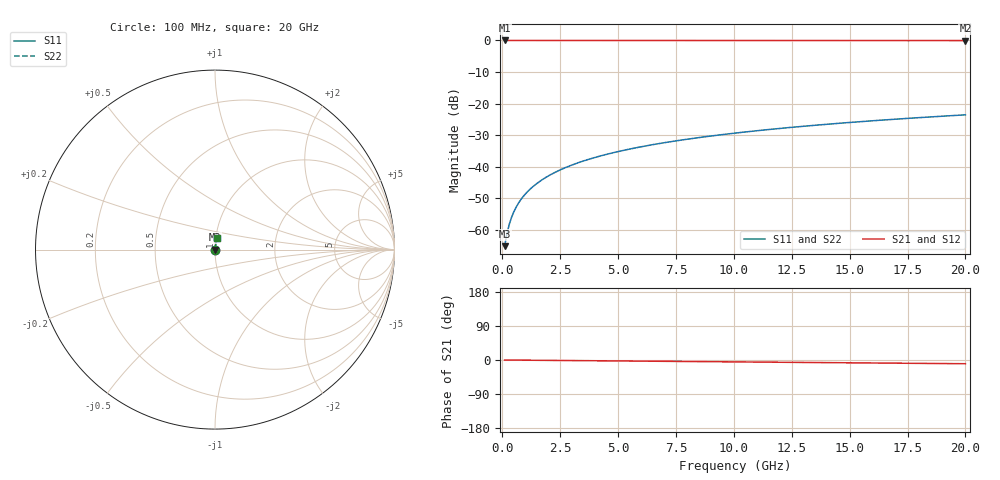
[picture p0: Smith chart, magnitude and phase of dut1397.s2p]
! Touchstone file exported from HFSS 2026.1.0
!  File:  C:/ffzhzh/LocalFiles/Ansys_Project_Files/temp_train_TSV_1397_1783196793_55132.aedt
!  Generated:  04:28:24 AM Jul  5, 2026
!  Design:  TSV
!  Project:  temp_train_TSV_1397_1783196793_55132
! Variables:
!  h_bsmrdl = 2um
!  h_ox = 20um
!  h_rdl = 5um
!  h_sub = 92.24um
!  h_tmrdl = 5um
!  h_tsv = 92.24um
!  h_via = 3um
!  l_bsmrdl = 300um
!  l_sub = 410.8um
!  l_tmrdl = 200um
!  m_sub = 200um
!  pitch = 39.47um
!  r_tsv = 5.4um
!  s_tmrdl = 10um
!  w_bsmrdl = 18um
!  w_sub = 500um
!  w_tmrdl = 12um
!  x_tsv_center1 = 206um
!  x_tsv_center2 = 524um
!  x_tsv_center3 = 736um
!  x_tsv_center4 = 1054um
!  x_tsv_center5 = 1266um
!  x_tsv_center6 = 1584um
# GHz S MA R 50.000000
! Terminal data exported
! Port[1] = TSV1_1_T1
! Port[2] = TSV1_1_T2
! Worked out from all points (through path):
!   200 points, 100 MHz to 20 GHz, reference 50 ohm
!   highest |S21| = 0.00 dB at 100 MHz (marker M1); lowest = 0.0 dB at 20 GHz (marker M2)
!   group delay of S21, straight-line fit = 1.36 ps
!   lowest |S11| = -65.2 dB at 100 MHz (marker M3), VSWR 1.00, Z = 50 + j0.0381 ohm
!   |S11| at or under -10 dB: start of sweep to end of sweep
!   |S22| runs from -65.2 to -23.6 dB; largest |S21 - S12| = 4.5e-15
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0.1  0.000548 44.0  0.9996 -0.1  0.9996 -0.1  0.000548 44.0
! Gamma 0 0 0 0
! Port Impedance 50 0 50 0
0.2  0.0008607 61.9  0.9996 -0.1  0.9996 -0.1  0.0008607 61.9
0.3  0.00121 69.6  0.9996 -0.2  0.9996 -0.2  0.00121 69.6
0.4  0.001568 73.6  0.9996 -0.2  0.9996 -0.2  0.001568 73.6
0.5  0.001927 76.0  0.9995 -0.3  0.9995 -0.3  0.001927 76.0
0.7  0.002639 78.7  0.9995 -0.4  0.9995 -0.4  0.002639 78.7
0.8  0.002992 79.5  0.9995 -0.4  0.9995 -0.4  0.002992 79.5
1  0.003692 80.7  0.9994 -0.5  0.9994 -0.5  0.003692 80.7
1.2  0.004388 81.6  0.9994 -0.6  0.9994 -0.6  0.004388 81.6
1.4  0.005081 82.2  0.9993 -0.7  0.9993 -0.7  0.005081 82.2
1.7  0.006118 82.8  0.9993 -0.9  0.9993 -0.9  0.006118 82.8
2  0.007152 83.2  0.9992 -1.0  0.9992 -1.0  0.007152 83.2
2.7  0.009552 83.7  0.9991 -1.4  0.9991 -1.4  0.009552 83.7
3.5  0.01227 83.8  0.999 -1.8  0.999 -1.8  0.01227 83.8
4.2  0.01463 83.8  0.9989 -2.1  0.9989 -2.1  0.01463 83.8
5  0.01731 83.7  0.9987 -2.5  0.9987 -2.5  0.01731 83.7
6.8  0.02328 83.3  0.9984 -3.4  0.9984 -3.4  0.02328 83.3
8.3  0.02823 82.8  0.9981 -4.1  0.9981 -4.1  0.02823 82.8
10.1  0.03413 82.2  0.9978 -5.0  0.9978 -5.0  0.03413 82.2
13.4  0.0449 81.0  0.9971 -6.6  0.9971 -6.6  0.0449 81.0
16.7  0.05559 79.6  0.9964 -8.2  0.9964 -8.2  0.05559 79.6
20  0.06616 78.2  0.9955 -9.8  0.9955 -9.8  0.06616 78.2
